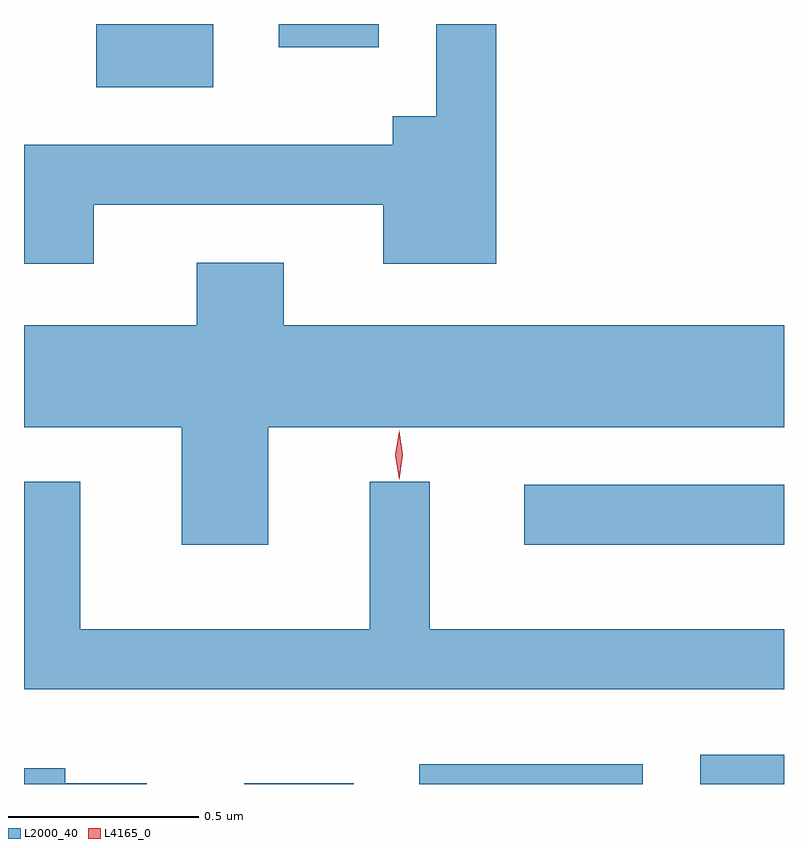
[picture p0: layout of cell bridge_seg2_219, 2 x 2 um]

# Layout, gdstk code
import gdstk
lib = gdstk.Library(unit=1e-6, precision=1e-09)
def R(c, l, rs):  # rectangles x0, y0, x1, y1
    for r in rs: c.add(gdstk.rectangle(r[:2], r[2:], *l))
def P(c, l, *ps):  # polygons
    for p in ps: c.add(gdstk.Polygon(p, *l))
L2000_40 = (2000, 40)
L4165_0 = (4165, 0)

bridge_seg2_219 = lib.new_cell('bridge_seg2_219')
R(bridge_seg2_219, L2000_40, [(970.006,1020.737,970.294,1020.739), (970.466,1020.737,971.054,1020.789), (971.206,1020.737,971.426,1020.814), (970.743,1021.366,971.426,1021.524), (969.616,1022.571,969.924,1022.737), (970.096,1022.676,970.359,1022.737)])
P(bridge_seg2_219, L2000_40, [(969.609,1022.261),(970.371,1022.261),(970.371,1022.106),(970.669,1022.106),(970.669,1022.737),(970.511,1022.737),(970.511,1022.494),(970.396,1022.494),(970.396,1022.419),(969.426,1022.419),(969.426,1022.106),(969.609,1022.106)],
  [(970.069,1021.676),(971.426,1021.676),(971.426,1021.944),(970.109,1021.944),(970.109,1022.109),(969.881,1022.109),(969.881,1021.944),(969.426,1021.944),(969.426,1021.676),(969.841,1021.676),(969.841,1021.366),(970.069,1021.366)],
  [(971.426,1021.144),(970.494,1021.144),(970.494,1021.533),(970.336,1021.533),(970.336,1021.144),(969.574,1021.144),(969.574,1021.533),(969.426,1021.533),(969.426,1020.986),(971.426,1020.986)],
  [(969.749,1020.739),(969.534,1020.739),(969.534,1020.779),(969.426,1020.779),(969.426,1020.737),(969.749,1020.737)])
P(bridge_seg2_219, L4165_0, [(970.413,1021.538),(970.413,1021.538),(970.403,1021.603),(970.413,1021.667),(970.413,1021.668),(970.414,1021.667),(970.423,1021.603),(970.414,1021.538)])

lib.write_gds('bridge_seg2_219.gds')
